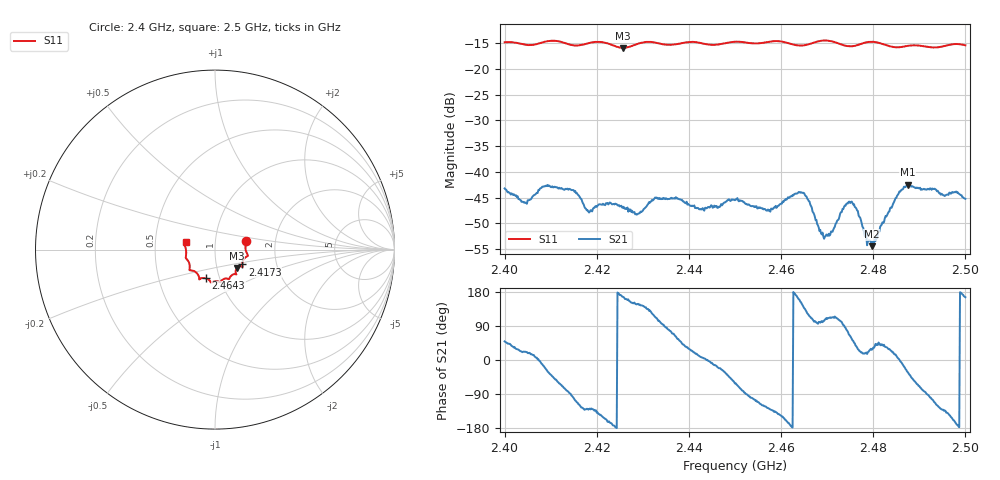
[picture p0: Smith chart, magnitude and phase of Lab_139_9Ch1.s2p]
# Hz S RI R 50
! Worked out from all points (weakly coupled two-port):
!   601 points, 2.4 GHz to 2.5 GHz, reference 50 ohm
!   highest |S21| = -42.50 dB at 2.4875 GHz (marker M1); lowest = -54.4 dB at 2.4797 GHz (marker M2)
!   lowest |S11| = -15.9 dB at 2.4257 GHz (marker M3), VSWR 1.38, Z = 62.4 - j13.1 ohm
!   |S11| at or under -10 dB: start of sweep to end of sweep
!   S12 and S22 are empty: the file has one direction only
!   S11 on the Smith chart (normalised r, x): 2.4 GHz: 1.41, +0.14; 2.4173 GHz: 1.34, -0.23; 2.4643 GHz: 0.86, -0.28; 2.5 GHz: 0.72, +0.06
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2.4e9  0.1739 0.0493  0.00451 0.00521  0 0  0 0
2.404333e9  0.1706 0.0213  0.00471 0.00187  0 0  0 0
2.409167e9  0.1823 -0.0292  0.00646 -0.0033  0 0  0 0
2.4145e9  0.1623 -0.051  -0.000413 -0.00663  0 0  0 0
2.416667e9  0.1526 -0.0751  -0.00316 -0.00443  0 0  0 0
2.417333e9  0.152 -0.0824  -0.003 -0.00342  0 0  0 0
2.425667e9  0.1223 -0.1023  -0.00435 0.00102  0 0  0 0
2.428833e9  0.1155 -0.1304  -0.00328 0.00206  0 0  0 0
2.433333e9  0.1127 -0.1365  -0.00128 0.00539  0 0  0 0
2.442833e9  0.0705 -0.1622  0.00432 0.000509  0 0  0 0
2.45e9  0.0295 -0.1807  0.00249 -0.00468  0 0  0 0
2.457167e9  -0.0148 -0.1816  -0.00257 -0.00345  0 0  0 0
2.464333e9  -0.0503 -0.1602  -0.0056 0.00295  0 0  0 0
2.466667e9  -0.0762 -0.1594  -0.00153 0.00422  0 0  0 0
2.469667e9  -0.0876 -0.1667  -0.000723 0.00227  0 0  0 0
2.473833e9  -0.0963 -0.1377  0.000261 0.0047  0 0  0 0
2.475333e9  -0.1097 -0.1237  0.0029 0.00424  0 0  0 0
2.4785e9  -0.1387 -0.1158  0.00218 0.000781  0 0  0 0
2.479667e9  -0.1426 -0.1145  0.00169 0.000857  0 0  0 0
2.483333e9  -0.1405 -0.0895  0.00357 0.00195  0 0  0 0
2.4875e9  -0.158 -0.0535  0.00634 -0.004  0 0  0 0
2.5e9  -0.1638 0.0419  -0.00529 0.00135  0 0  0 0
